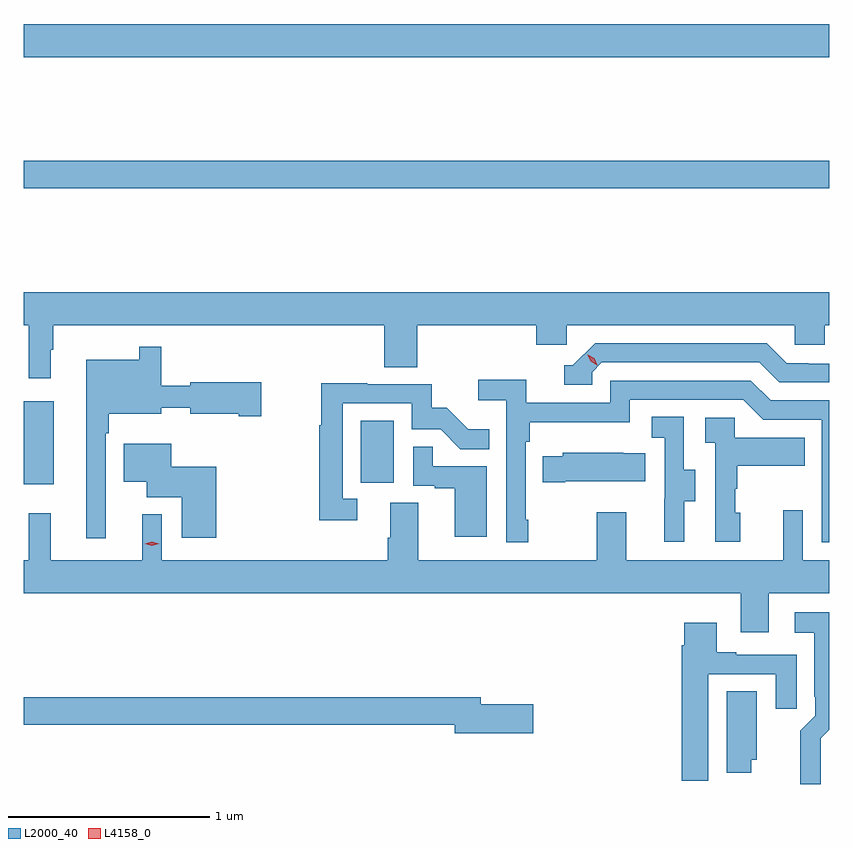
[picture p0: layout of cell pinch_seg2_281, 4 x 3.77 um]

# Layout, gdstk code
import gdstk
lib = gdstk.Library(unit=1e-6, precision=1e-09)
def R(c, l, rs):  # rectangles x0, y0, x1, y1
    for r in rs: c.add(gdstk.rectangle(r[:2], r[2:], *l))
def P(c, l, *ps):  # polygons
    for p in ps: c.add(gdstk.Polygon(p, *l))
L2000_40 = (2000, 40)
L4158_0 = (4158, 0)

pinch_seg2_281 = lib.new_cell('pinch_seg2_281')
R(pinch_seg2_281, L2000_40, [(909.789,633.527,909.937,633.937), (911.462,633.534,911.626,633.841), (909.789,634.996,913.789,635.132), (909.789,635.648,913.789,635.812)])
P(pinch_seg2_281, L2000_40, [(909.922,634.193),(909.934,634.193),(909.934,634.316),(911.579,634.316),(911.579,634.108),(911.744,634.108),(911.744,634.316),(912.335,634.316),(912.335,634.218),(912.486,634.218),(912.486,634.316),(913.617,634.316),(913.617,634.218),(913.767,634.218),(913.767,634.316),(913.789,634.316),(913.789,634.48),(909.789,634.48),(909.789,634.316),(909.813,634.316),(909.813,634.053),(909.922,634.053)],
  [(912.612,634.083),(912.66,634.131),(913.443,634.131),(913.542,634.032),(913.789,634.032),(913.789,634.125),(913.686,634.125),(913.686,634.128),(913.579,634.128),(913.48,634.227),(912.627,634.227),(912.516,634.116),(912.473,634.116),(912.473,634.02),(912.612,634.02)],
  [(910.197,633.779),(910.21,633.779),(910.21,633.875),(910.471,633.875),(910.471,633.905),(910.616,633.905),(910.616,633.875),(910.856,633.875),(910.856,633.863),(910.969,633.863),(910.969,634.033),(910.616,634.033),(910.616,634.015),(910.471,634.015),(910.471,634.21),(910.362,634.21),(910.362,634.144),(910.1,634.144),(910.1,633.258),(910.197,633.258)],
  [(912.295,633.349),(912.282,633.349),(912.282,633.737),(912.302,633.737),(912.302,633.833),(912.798,633.833),(912.798,633.945),(913.362,633.945),(913.461,633.846),(913.752,633.846),(913.752,633.237),(913.789,633.237),(913.789,633.942),(913.498,633.942),(913.399,634.041),(912.702,634.041),(912.702,633.93),(912.284,633.93),(912.284,634.046),(912.045,634.046),(912.045,633.944),(912.186,633.944),(912.186,633.237),(912.295,633.237)],
  [(911.446,633.453),(911.373,633.453),(911.373,633.927),(911.715,633.927),(911.715,633.798),(911.859,633.798),(911.957,633.7),(912.101,633.7),(912.101,633.799),(911.997,633.799),(911.89,633.906),(911.814,633.906),(911.814,634.023),(911.495,634.023),(911.495,634.028),(911.265,634.028),(911.265,633.82),(911.257,633.82),(911.257,633.348),(911.446,633.348)],
  [(913.069,633.442),(913.123,633.442),(913.123,633.597),(913.068,633.597),(913.068,633.86),(912.909,633.86),(912.909,633.757),(912.972,633.757),(912.972,633.453),(912.971,633.453),(912.971,633.24),(913.069,633.24)],
  [(913.348,633.384),(913.323,633.384),(913.323,633.503),(913.333,633.503),(913.333,633.617),(913.667,633.617),(913.667,633.757),(913.32,633.757),(913.32,633.855),(913.173,633.855),(913.173,633.731),(913.224,633.731),(913.224,633.24),(913.348,633.24)],
  [(910.745,633.613),(910.522,633.613),(910.522,633.727),(910.286,633.727),(910.286,633.539),(910.4,633.539),(910.4,633.461),(910.574,633.461),(910.574,633.261),(910.745,633.261)],
  [(912.088,633.615),(911.819,633.615),(911.819,633.713),(911.724,633.713),(911.724,633.519),(911.831,633.519),(911.831,633.507),(911.93,633.507),(911.93,633.264),(912.088,633.264)],
  [(912.478,633.542),(912.875,633.542),(912.875,633.679),(912.767,633.679),(912.767,633.682),(912.465,633.682),(912.465,633.664),(912.367,633.664),(912.367,633.535),(912.478,633.535)],
  [(913.489,632.984),(913.789,632.984),(913.789,633.148),(913.659,633.148),(913.659,633.397),(913.562,633.397),(913.562,633.148),(912.781,633.148),(912.781,633.388),(912.634,633.388),(912.634,633.148),(911.749,633.148),(911.749,633.434),(911.609,633.434),(911.609,633.26),(911.597,633.26),(911.597,633.148),(910.473,633.148),(910.473,633.376),(910.376,633.376),(910.376,633.148),(909.923,633.148),(909.923,633.382),(909.813,633.382),(909.813,633.148),(909.789,633.148),(909.789,632.984),(913.349,632.984),(913.349,632.79),(913.489,632.79)],
  [(913.747,632.264),(913.789,632.306),(913.789,632.89),(913.617,632.89),(913.617,632.789),(913.715,632.789),(913.715,632.47),(913.719,632.47),(913.719,632.376),(913.645,632.302),(913.645,632.037),(913.747,632.037)],
  [(913.189,632.583),(913.523,632.583),(913.523,632.412),(913.627,632.412),(913.627,632.679),(913.327,632.679),(913.327,632.692),(913.231,632.692),(913.231,632.839),(913.07,632.839),(913.07,632.726),(913.058,632.726),(913.058,632.052),(913.189,632.052)],
  [(913.402,632.157),(913.429,632.157),(913.429,632.498),(913.28,632.498),(913.28,632.093),(913.402,632.093)],
  [(912.319,632.432),(912.058,632.432),(912.058,632.468),(909.789,632.468),(909.789,632.332),(911.93,632.332),(911.93,632.29),(912.319,632.29)])
P(pinch_seg2_281, L4158_0, [(910.425,633.221),(910.389,633.23),(910.389,633.231),(910.389,633.231),(910.425,633.241),(910.461,633.231),(910.461,633.231),(910.461,633.23)],
  [(912.637,634.118),(912.606,634.137),(912.59,634.17),(912.59,634.17),(912.59,634.17),(912.621,634.151),(912.637,634.118),(912.637,634.118)])

lib.write_gds('pinch_seg2_281.gds')
